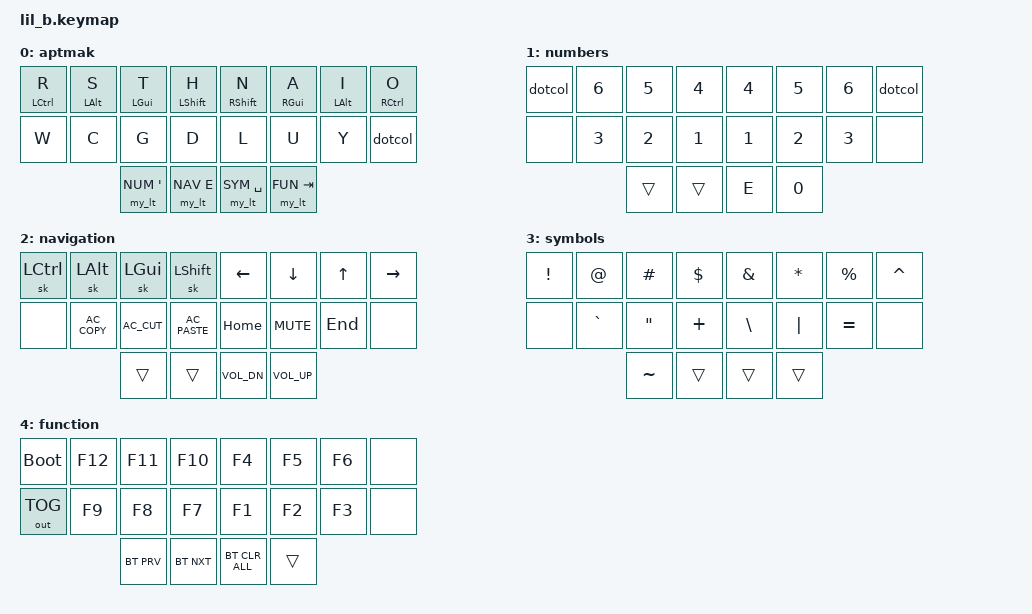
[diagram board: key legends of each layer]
#include <behaviors.dtsi>
#include <dt-bindings/zmk/keys.h>
#include <dt-bindings/zmk/bt.h>
#include <dt-bindings/zmk/outputs.h>

#define APT 0
#define NUM 1
#define NAV 2
#define SYM 3
#define FUN 4


&caps_word {
    continue-list = <UNDERSCORE MINUS BSPC LSHFT RSHFT>;
};

/ {
    macros {
        macro_shiftable_sch: macro_shiftable_sch {
            compatible = "zmk,behavior-macro";
            #binding-cells = <0>;
            bindings
                = <&macro_tap &kp S>
                , <&macro_release &kp RSHIFT>
                , <&macro_tap &kp C &kp H>
                ;
            tap-ms = <10>;
        };
        macro_de_ae: macro_de_ae {
            compatible = "zmk,behavior-macro";
            #binding-cells = <0>;
            bindings
                = <&macro_press &kp RALT>
                , <&macro_tap &kp DQT>
                , <&macro_release &kp RALT>
                , <&macro_tap &kp A>                   
                ;
            tap-ms = <10>;
        };
        macro_de_oe: macro_de_oe {
            compatible = "zmk,behavior-macro";
            #binding-cells = <0>;
            bindings
                = <&macro_press &kp RALT>
                , <&macro_tap &kp DQT>
                , <&macro_release &kp RALT>
                , <&macro_tap &kp O>                   
                ;
            tap-ms = <10>;
        };
        macro_de_ue: macro_de_ue {
            compatible = "zmk,behavior-macro";
            #binding-cells = <0>;
            bindings
                = <&macro_press &kp RALT>
                , <&macro_tap &kp DQT>
                , <&macro_release &kp RALT>
                , <&macro_tap &kp U>                   
                ;
            tap-ms = <10>;
        };
        macro_de_sz: macro_de_sz {
            compatible = "zmk,behavior-macro";
            #binding-cells = <0>;
            bindings
                = <&macro_press &kp RALT>
                , <&macro_tap &kp S>
                , <&macro_release &kp RALT>
                ;
            tap-ms = <10>;
        };
    };
};

/ {
    behaviors {
        hl: homerow_mods_left {
            compatible = "zmk,behavior-hold-tap";
            #binding-cells = <2>;
            flavor = "balanced";
            tapping-term-ms = <150>;
            quick-tap-ms = <100>;
            bindings = <&kp>, <&kp>;
            // opposite side hand keys
            hold-trigger-key-positions = <4 5 6 7 12 13 14 15 16 17 18 19>;
        };
        hr: homerow_mods_right {
            compatible = "zmk,behavior-hold-tap";
            #binding-cells = <2>;
            flavor = "balanced";
            tapping-term-ms = <150>;
            quick-tap-ms = <100>;
            bindings = <&kp>, <&kp>;
            // opposite side hand keys
            hold-trigger-key-positions = <0 1 2 3 8 9 10 11 16 17 18 19>;
        };

        my_lt: my_layer_taps {
            compatible = "zmk,behavior-hold-tap";
            #binding-cells = <2>;
            flavor = "tap-preferred";
            tapping-term-ms = <160>;
            quick-tap-ms = <100>;
            bindings = <&mo &kp>, <&kp>;
        };
        dotcol: dot_colon {
            compatible = "zmk,behavior-mod-morph";
            #binding-cells = <0>;
            bindings = <&kp DOT>, <&kp COLON>;
            mods = <(MOD_LSFT|MOD_RSFT)>;
        };
        comsem: comma_semicolon {
            compatible = "zmk,behavior-mod-morph";
            #binding-cells = <0>;
            bindings = <&kp COMMA>, <&kp SEMI>;
            mods = <(MOD_LSFT|MOD_RSFT)>;
        };
    };
};


#define COMBO(NAME, BINDINGS, KEYPOS) \
combo_##NAME { \
    timeout-ms = <20>; \
    bindings = <BINDINGS>; \
    key-positions = <KEYPOS>; \
    layers = <0>; \
};
#define SLOWCOMBO(NAME, BINDINGS, KEYPOS) \
combo_##NAME { \
    timeout-ms = <40>; \
    bindings = <BINDINGS>; \
    key-positions = <KEYPOS>; \
    layers = <0>; \
};
#define TCOMBO(NAME, BINDINGS, KEYPOS, TIMEOUT) \
combo_##NAME { \
    timeout-ms = <TIMEOUT>; \
    bindings = <BINDINGS>; \
    key-positions = <KEYPOS>; \
    layers = <0>; \
};
#define ALL_COMBO(NAME, BINDINGS, KEYPOS) \
combo_##NAME { \
    timeout-ms = <20>; \
    bindings = <BINDINGS>; \
    key-positions = <KEYPOS>; \
};
#define LAYER_COMBO(NAME, BINDINGS, KEYPOS, LAYERS) \
combo_##NAME { \
    timeout-ms = <20>; \
    bindings = <BINDINGS>; \
    key-positions = <KEYPOS>; \
    layers = <LAYERS>; \
};

#define COMBOS_TOP_ROW(LTPR, LTRM, LTMI, RTIM, RTMR, RTRP) \
	SLOWCOMBO(_ltpr, LTPR, 0 1) \
	COMBO(_ltrm, LTRM, 1 2) \
	COMBO(_ltmi, LTMI, 2 3) \
	COMBO(_rtim, RTIM, 4 5) \
	COMBO(_rtmr, RTMR, 5 6) \
	SLOWCOMBO(_rtrp, RTRP, 6 7)
#define COMBOS_BOT_ROW(LBRM, LBMI, RBIM, RBMR) \
	COMBO(_lbrm, LBRM, 9 10) \
	COMBO(_lbmi, LBMI, 10 11) \
	COMBO(_rbim, RBIM, 12 13) \
	COMBO(_rbmr, RBMR, 13 14)


//  ________________________________________________
// |   0 |   1 |   2 |   3 ||   4 |   5 |   6 |   7 |
// |   8 |   9 |  10 |  11 ||  12 |  13 |  14 |  15 |
// |     |    16     |  17 ||  18 |     19    |     |
// --------------------------------------------------

/{
    combos {
        compatible = "zmk,combos";
/* alphas */
                     //  0+1    1+2    2+3    4+5      5+6      6+7
        COMBOS_TOP_ROW(&kp W, &kp M, &kp B, &kp V, &comsem, &dotcol)
               COMBOS_BOT_ROW(&kp F, &kp P, &kp X, &kp Z)
                            // 9+10  10+11  12+13  13+14

/* usually on base layer */
        COMBO(q, &kp Q, 9 11)
        COMBO(k, &kp K, 2 11)
        COMBO(j, &kp J, 5 12)
        COMBO(shiftablesch, &macro_shiftable_sch, 1 3)
        ALL_COMBO(enter, &kp ENTER, 12 14)
        ALL_COMBO(esc, &kp ESC, 0 3)
        ALL_COMBO(semi, &kp SEMICOLON, 13 19)
        ALL_COMBO(colon, &kp COLON, 14 18)
        ALL_COMBO(minus, &kp MINUS, 1 10)
        ALL_COMBO(slash, &kp SLASH, 6 13)
/* numbers */
        LAYER_COMBO(L0, &kp N0, 1 2, 1)
        LAYER_COMBO(L9, &kp N9, 9 10, 1)
        LAYER_COMBO(L8, &kp N8, 2 3, 1)
        LAYER_COMBO(L7, &kp N7, 10 11, 1)
        LAYER_COMBO(R7, &kp N7, 12 13, 1)
        LAYER_COMBO(R8, &kp N8, 4 5, 1)
        LAYER_COMBO(R9, &kp N9, 13 14, 1)
        LAYER_COMBO(R0, &kp N0, 5 6, 1)
        LAYER_COMBO(Lplus, &kp PLUS, 2 11, 1)
        LAYER_COMBO(Rplus, &kp PLUS, 5 12, 1)
/* umlauts */
        COMBO(ae, &macro_de_ae, 5 18)
        COMBO(oe, &macro_de_oe, 7 18)
        COMBO(ue, &macro_de_ue, 13 18)
        COMBO(sz, &macro_de_sz, 1 17)
/* parentheticals */
        COMBO(lbrc, &kp LBRC, 1 9)
        COMBO(lbkt, &kp LBKT, 2 10)
        COMBO(lpar, &kp LPAR, 3 11)
        COMBO(lt, &kp LT, 1 11)
        COMBO(rt, &kp GT, 6 12)
        COMBO(rpar, &kp RPAR, 4 12)
        COMBO(rbkt, &kp RBKT, 5 13)
        COMBO(rbrc, &kp RBRC, 6 14)
/* caps */
        COMBO(caps, &caps_word, 3 4)
        COMBO(capslock, &kp CAPSLOCK, 1 6)
/* deletion */
        ALL_COMBO(bspc, &kp BSPC, 4 6)
        SLOWCOMBO(del, &kp DEL, 5 7)
        COMBO(delword, &kp LC(BSPC), 4 7)
    };
};

//  ________________________________________________
// |   0 |   1 |   2 |   3 ||   4 |   5 |   6 |   7 |
// |   8 |   9 |  10 |  11 ||  12 |  13 |  14 |  15 |
// |     |    16     |  17 ||  18 |     19    |     |
//  ------------------------------------------------



/ {
    keymap {
        compatible = "zmk,keymap";

        aptmak {
            bindings = <
                &hl LCTRL R    &hl LALT S     &hl LGUI T     &hl LSHFT H        &hr RSHFT N    &hr RGUI A     &hr LALT I     &hr RCTRL O
                &kp W          &kp C          &kp G          &kp D              &kp L          &kp U          &kp Y          &dotcol
                                              &my_lt NUM SQT &my_lt NAV E   &my_lt SYM SPACE   &my_lt FUN TAB
            >;
        };
        numbers {
            bindings = <
                &dotcol        &kp N6         &kp N5         &kp N4             &kp N4         &kp N5         &kp N6         &dotcol
                &none          &kp N3         &kp N2         &kp N1             &kp N1         &kp N2         &kp N3         &none
                                              &trans         &trans             &kp E          &kp N0
            >;
        };
        navigation {
            bindings = <
                &sk LCTRL      &sk LALT       &sk LGUI       &sk LSHFT          &kp LEFT       &kp DOWN       &kp UP         &kp RIGHT
                &none          &kp C_AC_COPY  &kp C_AC_CUT   &kp C_AC_PASTE     &kp HOME       &kp C_MUTE     &kp END        &none
                                              &trans         &trans             &kp C_VOL_DN   &kp C_VOL_UP
            >;
        };
        symbols {
            bindings = <
                &kp EXCL       &kp AT         &kp HASH       &kp DOLLAR         &kp AMPERSAND  &kp ASTERISK   &kp PERCENT    &kp CARET
                &none          &kp GRAVE      &kp DQT        &kp PLUS           &kp BACKSLASH  &kp PIPE       &kp EQUAL      &none
                                              &kp TILDE      &trans             &trans         &trans
            >;
        };
        function {
            bindings = <
                &bootloader    &kp F12        &kp F11        &kp F10            &kp F4         &kp F5         &kp F6         &none
                &out OUT_TOG   &kp F9         &kp F8         &kp F7             &kp F1         &kp F2         &kp F3         &none
                                              &bt BT_PRV     &bt BT_NXT         &bt BT_CLR_ALL &trans
            >;
        };

    };
};
